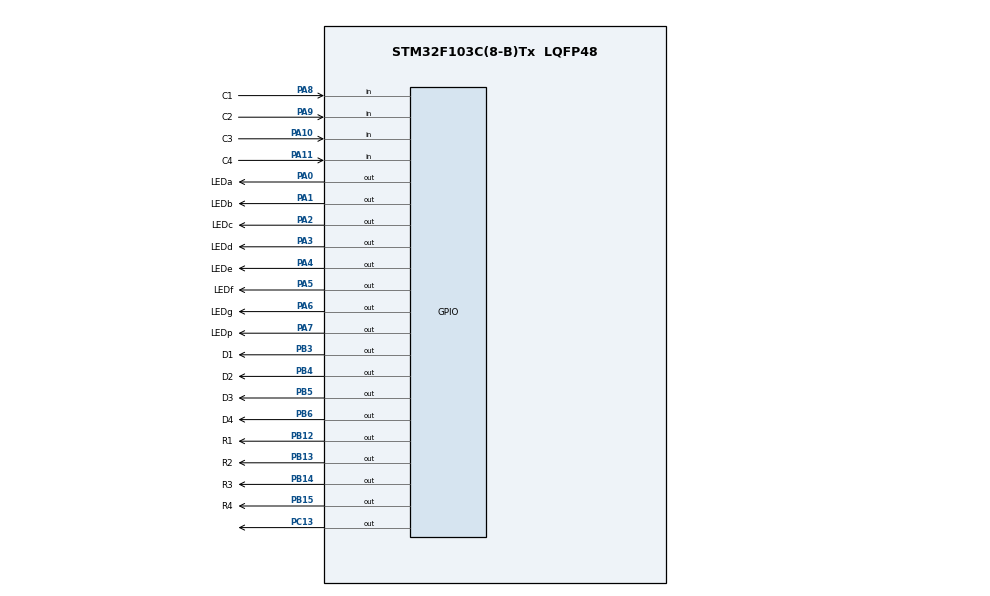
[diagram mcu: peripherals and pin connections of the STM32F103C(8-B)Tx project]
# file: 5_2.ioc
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Mcu.Family=STM32F1
Mcu.Name=STM32F103C(8-B)Tx
Mcu.Package=LQFP48
NVIC.PriorityGroup=NVIC_PRIORITYGROUP_4
NVIC.TIM2_IRQn=true\:0\:0\:false\:false\:true\:true\:true\:true
PA0-WKUP.GPIO_Label=LEDa
PA0-WKUP.Signal=GPIO_Output
PA1.GPIO_Label=LEDb
PA1.Signal=GPIO_Output
PA10.GPIO_Label=C3
PA10.GPIO_PuPd=GPIO_PULLUP
PA10.Signal=GPIO_Input
PA11.GPIO_Label=C4
PA11.GPIO_PuPd=GPIO_PULLUP
PA11.Signal=GPIO_Input
PA13.Mode=Serial_Wire
PA13.Signal=SYS_JTMS-SWDIO
PA14.Mode=Serial_Wire
PA14.Signal=SYS_JTCK-SWCLK
PA2.GPIO_Label=LEDc
PA2.Signal=GPIO_Output
PA3.GPIO_Label=LEDd
PA3.Signal=GPIO_Output
PA4.GPIO_Label=LEDe
PA4.Signal=GPIO_Output
PA5.GPIO_Label=LEDf
PA5.Signal=GPIO_Output
PA6.GPIO_Label=LEDg
PA6.Signal=GPIO_Output
PA7.GPIO_Label=LEDp
PA7.Signal=GPIO_Output
PA8.GPIO_Label=C1
PA8.GPIO_PuPd=GPIO_PULLUP
PA8.Signal=GPIO_Input
PA9.GPIO_Label=C2
PA9.GPIO_PuPd=GPIO_PULLUP
PA9.Signal=GPIO_Input
PB12.GPIO_Label=R1
PB12.Signal=GPIO_Output
PB13.GPIO_Label=R2
PB13.Signal=GPIO_Output
PB14.GPIO_Label=R3
PB14.Signal=GPIO_Output
PB15.GPIO_Label=R4
PB15.Signal=GPIO_Output
PB3.GPIO_Label=D1
PB3.Signal=GPIO_Output
PB4.GPIO_Label=D2
PB4.Signal=GPIO_Output
PB5.GPIO_Label=D3
PB5.Signal=GPIO_Output
PB6.GPIO_Label=D4
PB6.Signal=GPIO_Output
PC13-TAMPER-RTC.Signal=GPIO_Output
PD0-OSC_IN.Mode=HSE-External-Oscillator
PD0-OSC_IN.Signal=RCC_OSC_IN
PD1-OSC_OUT.Mode=HSE-External-Oscillator
PD1-OSC_OUT.Signal=RCC_OSC_OUT
ProjectManager.HeapSize=0x200
ProjectManager.StackSize=0x400
ProjectManager.TargetToolchain=STM32CubeIDE
RCC.APB1Freq_Value=8000000
RCC.APB2Freq_Value=8000000
TIM2.Period=99
TIM2.Prescaler=7199
VP_TIM2_VS_ClockSourceINT.Mode=Internal
board=custom

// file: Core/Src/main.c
/* USER CODE BEGIN Header */
/**
  ******************************************************************************
  * @file           : main.c
  * @brief          : Main program body
  ******************************************************************************
  * @attention
  *
  * Copyright (c) 2024 STMicroelectronics.
  * All rights reserved.
  *
  * This software is licensed under terms that can be found in the LICENSE file
  * in the root directory of this software component.
  * If no LICENSE file comes with this software, it is provided AS-IS.
  *
  ******************************************************************************
  */
/* USER CODE END Header */
#include "main.h"

/* USER CODE BEGIN Includes */
//!
#include "keypad.h"
#include "led7display4digit.h"
/* USER CODE END Includes */

/* USER CODE BEGIN PD */
//!
//#define DEBUG_DISP
#define GET_TIME(h_m_s) \
	(__TIME__) ? (__TIME__[h_m_s*3] - '0') * 10 + (__TIME__[h_m_s*3+1] - '0') : 0
/* USER CODE END PD */

TIM_HandleTypeDef htim2;

void SystemClock_Config(void);
static void MX_GPIO_Init(void);
static void MX_TIM2_Init(void);
/* USER CODE BEGIN PFP */
//!
void tim2tick();
/* USER CODE END PFP */

/* USER CODE BEGIN 0 */
//!
//volatile int8_t hours = 0;
//volatile int8_t minutes = 59;
//volatile int8_t seconds = 55;
volatile int8_t hours   = GET_TIME(0);
volatile int8_t minutes = GET_TIME(1);
volatile int8_t seconds = GET_TIME(2);

volatile uint8_t keyCount = 0;
volatile uint32_t tick_count = 0;
#ifdef DEBUG_DISP
    #define DISP_POS_1 minutes
	#define DISP_POS_2 seconds
#else
    #define DISP_POS_1 hours
	#define DISP_POS_2 minutes
#endif
/* USER CODE END 0 */

int main(void)
{

  /* MCU Configuration--------------------------------------------------------*/

  /* Reset of all peripherals, Initializes the Flash interface and the Systick. */
  HAL_Init();

  /* Configure the system clock */
  SystemClock_Config();

  /* Initialize all configured peripherals */
  MX_GPIO_Init();
  MX_TIM2_Init();
  /* USER CODE BEGIN 2 */
  //!
  HAL_TIM_Base_Start_IT(&htim2);
  char key_pressed = 0;
  /* USER CODE END 2 */

  /* Infinite loop */
  /* USER CODE BEGIN WHILE */
  while (1)
  {

	//!
	key_pressed = read_keypad();
	if(key_pressed){
		if(key_pressed == '*') keyCount = 0;
		if('0' <= key_pressed && key_pressed <= '9'){
			uint8_t digit = key_pressed - '0';
			switch(keyCount){
			case 0:
				DISP_POS_2 = 0;
				DISP_POS_1 = digit * 10 ;
				break;
			case 1:
				DISP_POS_1 = digit + (DISP_POS_1 - DISP_POS_1 % 10);
				break;
			case 2:
				DISP_POS_2 = digit * 10 ;
				break;
			case 3:
				DISP_POS_2 = digit + (DISP_POS_2 - DISP_POS_2 % 10);

				#ifdef DEBUG_DISP
					if(DISP_POS_1>=60) DISP_POS_1 = 0;
				#else
					if(DISP_POS_1>=24) DISP_POS_1 = 0;
					seconds = 0;
				#endif

				if(DISP_POS_2>=60) DISP_POS_2 = 0;

				break;
			}
			if(keyCount++ >=3) keyCount = 0;
			displayNumber(DISP_POS_1 * 100 + DISP_POS_2 + 10000);
		}

	}
    /* USER CODE END WHILE */

  }
}

void SystemClock_Config(void)
{
  RCC_OscInitTypeDef RCC_OscInitStruct = {0};
  RCC_ClkInitTypeDef RCC_ClkInitStruct = {0};

  /** Initializes the RCC Oscillators according to the specified parameters
  * in the RCC_OscInitTypeDef structure.
  */
  RCC_OscInitStruct.OscillatorType = RCC_OSCILLATORTYPE_HSI;
  RCC_OscInitStruct.HSIState = RCC_HSI_ON;
  RCC_OscInitStruct.HSICalibrationValue = RCC_HSICALIBRATION_DEFAULT;
  RCC_OscInitStruct.PLL.PLLState = RCC_PLL_NONE;
  if (HAL_RCC_OscConfig(&RCC_OscInitStruct) != HAL_OK)
  {
    Error_Handler();
  }

  /** Initializes the CPU, AHB and APB buses clocks
  */
  RCC_ClkInitStruct.ClockType = RCC_CLOCKTYPE_HCLK|RCC_CLOCKTYPE_SYSCLK
                              |RCC_CLOCKTYPE_PCLK1|RCC_CLOCKTYPE_PCLK2;
  RCC_ClkInitStruct.SYSCLKSource = RCC_SYSCLKSOURCE_HSI;
  RCC_ClkInitStruct.AHBCLKDivider = RCC_SYSCLK_DIV1;
  RCC_ClkInitStruct.APB1CLKDivider = RCC_HCLK_DIV1;
  RCC_ClkInitStruct.APB2CLKDivider = RCC_HCLK_DIV1;

  if (HAL_RCC_ClockConfig(&RCC_ClkInitStruct, FLASH_LATENCY_0) != HAL_OK)
  {
    Error_Handler();
  }
}

static void MX_TIM2_Init(void)
{

  TIM_ClockConfigTypeDef sClockSourceConfig = {0};
  TIM_MasterConfigTypeDef sMasterConfig = {0};

  htim2.Instance = TIM2;
  htim2.Init.Prescaler = 7199;
  htim2.Init.CounterMode = TIM_COUNTERMODE_UP;
  htim2.Init.Period = 99;
  htim2.Init.ClockDivision = TIM_CLOCKDIVISION_DIV1;
  htim2.Init.AutoReloadPreload = TIM_AUTORELOAD_PRELOAD_DISABLE;
  if (HAL_TIM_Base_Init(&htim2) != HAL_OK)
  {
    Error_Handler();
  }
  sClockSourceConfig.ClockSource = TIM_CLOCKSOURCE_INTERNAL;
  if (HAL_TIM_ConfigClockSource(&htim2, &sClockSourceConfig) != HAL_OK)
  {
    Error_Handler();
  }
  sMasterConfig.MasterOutputTrigger = TIM_TRGO_RESET;
  sMasterConfig.MasterSlaveMode = TIM_MASTERSLAVEMODE_DISABLE;
  if (HAL_TIMEx_MasterConfigSynchronization(&htim2, &sMasterConfig) != HAL_OK)
  {
    Error_Handler();
  }

}

static void MX_GPIO_Init(void)
{
  GPIO_InitTypeDef GPIO_InitStruct = {0};

  /* GPIO Ports Clock Enable */
  __HAL_RCC_GPIOC_CLK_ENABLE();
  __HAL_RCC_GPIOD_CLK_ENABLE();
  __HAL_RCC_GPIOA_CLK_ENABLE();
  __HAL_RCC_GPIOB_CLK_ENABLE();

  /*Configure GPIO pin Output Level */
  HAL_GPIO_WritePin(GPIOC, GPIO_PIN_13, GPIO_PIN_RESET);

  /*Configure GPIO pin Output Level */
  HAL_GPIO_WritePin(GPIOA, LEDa_Pin|LEDb_Pin|LEDc_Pin|LEDd_Pin
                          |LEDe_Pin|LEDf_Pin|LEDg_Pin|LEDp_Pin, GPIO_PIN_RESET);

  /*Configure GPIO pin Output Level */
  HAL_GPIO_WritePin(GPIOB, R1_Pin|R2_Pin|R3_Pin|R4_Pin
                          |D1_Pin|D2_Pin|D3_Pin|D4_Pin, GPIO_PIN_RESET);

  /*Configure GPIO pin : PC13 */
  GPIO_InitStruct.Pin = GPIO_PIN_13;
  GPIO_InitStruct.Mode = GPIO_MODE_OUTPUT_PP;
  GPIO_InitStruct.Pull = GPIO_NOPULL;
  GPIO_InitStruct.Speed = GPIO_SPEED_FREQ_LOW;
  HAL_GPIO_Init(GPIOC, &GPIO_InitStruct);

  /*Configure GPIO pins : LEDa_Pin LEDb_Pin LEDc_Pin LEDd_Pin
                           LEDe_Pin LEDf_Pin LEDg_Pin LEDp_Pin */
  GPIO_InitStruct.Pin = LEDa_Pin|LEDb_Pin|LEDc_Pin|LEDd_Pin
                          |LEDe_Pin|LEDf_Pin|LEDg_Pin|LEDp_Pin;
  GPIO_InitStruct.Mode = GPIO_MODE_OUTPUT_PP;
  GPIO_InitStruct.Pull = GPIO_NOPULL;
  GPIO_InitStruct.Speed = GPIO_SPEED_FREQ_LOW;
  HAL_GPIO_Init(GPIOA, &GPIO_InitStruct);

  /*Configure GPIO pins : R1_Pin R2_Pin R3_Pin R4_Pin
                           D1_Pin D2_Pin D3_Pin D4_Pin */
  GPIO_InitStruct.Pin = R1_Pin|R2_Pin|R3_Pin|R4_Pin
                          |D1_Pin|D2_Pin|D3_Pin|D4_Pin;
  GPIO_InitStruct.Mode = GPIO_MODE_OUTPUT_PP;
  GPIO_InitStruct.Pull = GPIO_NOPULL;
  GPIO_InitStruct.Speed = GPIO_SPEED_FREQ_LOW;
  HAL_GPIO_Init(GPIOB, &GPIO_InitStruct);

  /*Configure GPIO pins : C1_Pin C2_Pin C3_Pin C4_Pin */
  GPIO_InitStruct.Pin = C1_Pin|C2_Pin|C3_Pin|C4_Pin;
  GPIO_InitStruct.Mode = GPIO_MODE_INPUT;
  GPIO_InitStruct.Pull = GPIO_PULLUP;
  HAL_GPIO_Init(GPIOA, &GPIO_InitStruct);

}

/* USER CODE BEGIN 4 */
//!
//Реалізувати годинник, який виводить на індикатор поточний час у форматі
//ГОД.ХВ. Години та хвилини мають розділятись крапкою, яка блимає з
//періодом 1 с. Стартовий поточний час має вводитись з клавіатури.
//Використовувати HAL_Delay/GetTick заборонено.

// викликається 1000 разів на секунду
void tim2tick(){
	displayTick(); // оноовлення екрана

	if(!keyCount){
		if (tick_count == 500) pointBlink();
		if (++tick_count >= 1000) {
			tick_count = 0;
			pointBlink(); // Зміна стану крапки
			if (++seconds >= 60) {
				seconds = 0;
				if (++minutes >= 60) {
					minutes = 0;
					if (hours++ >= 23) hours = 0;
				}
			}
			// Відображення поточного часу
			displayNumber(DISP_POS_1 * 100 + DISP_POS_2 + 10000);
		}
	}

}
/* USER CODE END 4 */

void Error_Handler(void)
{
  __disable_irq();
  while (1)
  {
  }
}
